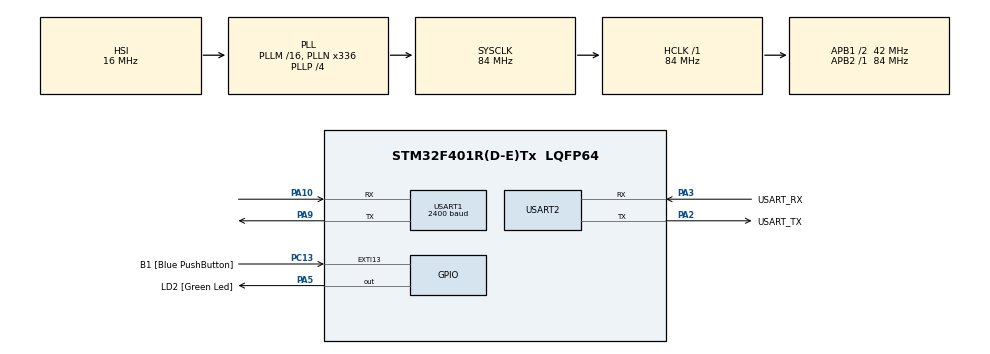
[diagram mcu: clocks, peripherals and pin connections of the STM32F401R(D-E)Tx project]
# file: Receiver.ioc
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Mcu.Family=STM32F4
Mcu.Name=STM32F401R(D-E)Tx
Mcu.Package=LQFP64
NVIC.PriorityGroup=NVIC_PRIORITYGROUP_0
NVIC.USART1_IRQn=true\:0\:0\:false\:false\:true\:true\:true\:true
NVIC.USART2_IRQn=true\:0\:0\:false\:false\:true\:true\:true\:true
PA10.Mode=Asynchronous
PA10.Signal=USART1_RX
PA13.GPIO_Label=TMS
PA13.Mode=Serial_Wire
PA13.Signal=SYS_JTMS-SWDIO
PA14.GPIO_Label=TCK
PA14.Mode=Serial_Wire
PA14.Signal=SYS_JTCK-SWCLK
PA2.GPIO_Label=USART_TX
PA2.GPIO_Mode=GPIO_MODE_AF_PP
PA2.GPIO_PuPd=GPIO_NOPULL
PA2.GPIO_Speed=GPIO_SPEED_FREQ_LOW
PA2.Mode=Asynchronous
PA2.Signal=USART2_TX
PA3.GPIO_Label=USART_RX
PA3.GPIO_Mode=GPIO_MODE_AF_PP
PA3.GPIO_PuPd=GPIO_NOPULL
PA3.GPIO_Speed=GPIO_SPEED_FREQ_LOW
PA3.Mode=Asynchronous
PA3.Signal=USART2_RX
PA5.GPIO_Label=LD2 [Green Led]
PA5.GPIO_Mode=GPIO_MODE_OUTPUT_PP
PA5.GPIO_PuPd=GPIO_NOPULL
PA5.GPIO_Speed=GPIO_SPEED_FREQ_LOW
PA5.Signal=GPIO_Output
PA9.Mode=Asynchronous
PA9.Signal=USART1_TX
PB3.GPIO_Label=SWO
PB3.Signal=SYS_JTDO-SWO
PC13-ANTI_TAMP.GPIO_Label=B1 [Blue PushButton]
PC13-ANTI_TAMP.GPIO_ModeDefaultEXTI=GPIO_MODE_IT_FALLING
PC13-ANTI_TAMP.GPIO_PuPd=GPIO_NOPULL
PC13-ANTI_TAMP.Signal=GPXTI13
PC14-OSC32_IN.Mode=LSE-External-Oscillator
PC14-OSC32_IN.Signal=RCC_OSC32_IN
PC15-OSC32_OUT.Mode=LSE-External-Oscillator
PC15-OSC32_OUT.Signal=RCC_OSC32_OUT
PH0\ -\ OSC_IN.Mode=HSE-External-Clock-Source
PH0\ -\ OSC_IN.Signal=RCC_OSC_IN
PH1\ -\ OSC_OUT.Mode=HSE-External-Clock-Source
PH1\ -\ OSC_OUT.Signal=RCC_OSC_OUT
ProjectManager.HeapSize=0x200
ProjectManager.StackSize=0x400
ProjectManager.TargetToolchain=STM32CubeIDE
RCC.48MHZClocksFreq_Value=48000000
RCC.AHBFreq_Value=84000000
RCC.APB1CLKDivider=RCC_HCLK_DIV2
RCC.APB1Freq_Value=42000000
RCC.APB1TimFreq_Value=84000000
RCC.APB2Freq_Value=84000000
RCC.APB2TimFreq_Value=84000000
RCC.CortexFreq_Value=84000000
RCC.HCLKFreq_Value=84000000
RCC.HSE_VALUE=8000000
RCC.HSI_VALUE=16000000
RCC.PLLN=336
RCC.PLLP=RCC_PLLP_DIV4
RCC.PLLQ=7
RCC.SYSCLKFreq_VALUE=84000000
RCC.SYSCLKSource=RCC_SYSCLKSOURCE_PLLCLK
RCC.VCOOutputFreq_Value=336000000
USART1.BaudRate=2400
USART1.Mode=MODE_RX
USART1.VirtualMode=VM_ASYNC
USART2.VirtualMode=VM_ASYNC
board=NUCLEO-F401RE

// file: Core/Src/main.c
/* USER CODE BEGIN Header */
/**
  ******************************************************************************
  * @file           : main.c
  * @brief          : Main program body
  ******************************************************************************
  * @attention
  *
  * Copyright (c) 2023 STMicroelectronics.
  * All rights reserved.
  *
  * This software is licensed under terms that can be found in the LICENSE file
  * in the root directory of this software component.
  * If no LICENSE file comes with this software, it is provided AS-IS.
  *
  ******************************************************************************
  */
/* USER CODE END Header */
#include "main.h"

/* USER CODE BEGIN PD */
#define LED_GREEN GPIOA, GPIO_PIN_5
/* USER CODE END PD */

UART_HandleTypeDef huart1;
UART_HandleTypeDef huart2;

/* USER CODE BEGIN PV */
char data[64];
size_t index = 0;

/* USER CODE END PV */

void SystemClock_Config(void);
static void MX_GPIO_Init(void);
static void MX_USART2_UART_Init(void);
static void MX_USART1_UART_Init(void);

/* USER CODE BEGIN 0 */
void HAL_USART_RxCpltCallback(UART_HandleTypeDef *husart) {
	if (husart != &huart2)
		return;
	HAL_UART_Receive_IT(&huart2, (uint8_t *)data, 1);
	uint8_t received = data[index];
	int i;
	for (i = 0; i < 8; i++) {
		if (received % 2) {
			HAL_GPIO_WritePin(LED_GREEN, GPIO_PIN_SET);
		} else {
			HAL_GPIO_WritePin(LED_GREEN, GPIO_PIN_RESET);
		}
		received >>= 1;
	}
	HAL_GPIO_WritePin(LED_GREEN, GPIO_PIN_RESET);
	index++;
}
/* USER CODE END 0 */

int main(void)
{

  /* MCU Configuration--------------------------------------------------------*/

  /* Reset of all peripherals, Initializes the Flash interface and the Systick. */
  HAL_Init();

  /* Configure the system clock */
  SystemClock_Config();

  /* Initialize all configured peripherals */
  MX_GPIO_Init();
  MX_USART2_UART_Init();
  MX_USART1_UART_Init();
  /* USER CODE BEGIN 2 */

  HAL_UART_Receive_IT(&huart2, (uint8_t *)data, 1);

  /* USER CODE END 2 */

  /* Infinite loop */
  while (1)
  {

  }
}

void SystemClock_Config(void)
{
  RCC_OscInitTypeDef RCC_OscInitStruct = {0};
  RCC_ClkInitTypeDef RCC_ClkInitStruct = {0};

  /** Configure the main internal regulator output voltage
  */
  __HAL_RCC_PWR_CLK_ENABLE();
  __HAL_PWR_VOLTAGESCALING_CONFIG(PWR_REGULATOR_VOLTAGE_SCALE2);

  /** Initializes the RCC Oscillators according to the specified parameters
  * in the RCC_OscInitTypeDef structure.
  */
  RCC_OscInitStruct.OscillatorType = RCC_OSCILLATORTYPE_HSI;
  RCC_OscInitStruct.HSIState = RCC_HSI_ON;
  RCC_OscInitStruct.HSICalibrationValue = RCC_HSICALIBRATION_DEFAULT;
  RCC_OscInitStruct.PLL.PLLState = RCC_PLL_ON;
  RCC_OscInitStruct.PLL.PLLSource = RCC_PLLSOURCE_HSI;
  RCC_OscInitStruct.PLL.PLLM = 16;
  RCC_OscInitStruct.PLL.PLLN = 336;
  RCC_OscInitStruct.PLL.PLLP = RCC_PLLP_DIV4;
  RCC_OscInitStruct.PLL.PLLQ = 7;
  if (HAL_RCC_OscConfig(&RCC_OscInitStruct) != HAL_OK)
  {
    Error_Handler();
  }

  /** Initializes the CPU, AHB and APB buses clocks
  */
  RCC_ClkInitStruct.ClockType = RCC_CLOCKTYPE_HCLK|RCC_CLOCKTYPE_SYSCLK
                              |RCC_CLOCKTYPE_PCLK1|RCC_CLOCKTYPE_PCLK2;
  RCC_ClkInitStruct.SYSCLKSource = RCC_SYSCLKSOURCE_PLLCLK;
  RCC_ClkInitStruct.AHBCLKDivider = RCC_SYSCLK_DIV1;
  RCC_ClkInitStruct.APB1CLKDivider = RCC_HCLK_DIV2;
  RCC_ClkInitStruct.APB2CLKDivider = RCC_HCLK_DIV1;

  if (HAL_RCC_ClockConfig(&RCC_ClkInitStruct, FLASH_LATENCY_2) != HAL_OK)
  {
    Error_Handler();
  }
}

static void MX_USART1_UART_Init(void)
{

  huart1.Instance = USART1;
  huart1.Init.BaudRate = 2400;
  huart1.Init.WordLength = UART_WORDLENGTH_8B;
  huart1.Init.StopBits = UART_STOPBITS_1;
  huart1.Init.Parity = UART_PARITY_NONE;
  huart1.Init.Mode = UART_MODE_RX;
  huart1.Init.HwFlowCtl = UART_HWCONTROL_NONE;
  huart1.Init.OverSampling = UART_OVERSAMPLING_16;
  if (HAL_UART_Init(&huart1) != HAL_OK)
  {
    Error_Handler();
  }

}

static void MX_USART2_UART_Init(void)
{

  huart2.Instance = USART2;
  huart2.Init.BaudRate = 115200;
  huart2.Init.WordLength = UART_WORDLENGTH_8B;
  huart2.Init.StopBits = UART_STOPBITS_1;
  huart2.Init.Parity = UART_PARITY_NONE;
  huart2.Init.Mode = UART_MODE_TX_RX;
  huart2.Init.HwFlowCtl = UART_HWCONTROL_NONE;
  huart2.Init.OverSampling = UART_OVERSAMPLING_16;
  if (HAL_UART_Init(&huart2) != HAL_OK)
  {
    Error_Handler();
  }

}

static void MX_GPIO_Init(void)
{
  GPIO_InitTypeDef GPIO_InitStruct = {0};

  /* GPIO Ports Clock Enable */
  __HAL_RCC_GPIOC_CLK_ENABLE();
  __HAL_RCC_GPIOH_CLK_ENABLE();
  __HAL_RCC_GPIOA_CLK_ENABLE();
  __HAL_RCC_GPIOB_CLK_ENABLE();

  /*Configure GPIO pin Output Level */
  HAL_GPIO_WritePin(LD2_GPIO_Port, LD2_Pin, GPIO_PIN_RESET);

  /*Configure GPIO pin : B1_Pin */
  GPIO_InitStruct.Pin = B1_Pin;
  GPIO_InitStruct.Mode = GPIO_MODE_IT_FALLING;
  GPIO_InitStruct.Pull = GPIO_NOPULL;
  HAL_GPIO_Init(B1_GPIO_Port, &GPIO_InitStruct);

  /*Configure GPIO pin : LD2_Pin */
  GPIO_InitStruct.Pin = LD2_Pin;
  GPIO_InitStruct.Mode = GPIO_MODE_OUTPUT_PP;
  GPIO_InitStruct.Pull = GPIO_NOPULL;
  GPIO_InitStruct.Speed = GPIO_SPEED_FREQ_LOW;
  HAL_GPIO_Init(LD2_GPIO_Port, &GPIO_InitStruct);

}

void Error_Handler(void)
{
  __disable_irq();
  while (1)
  {
  }
}
